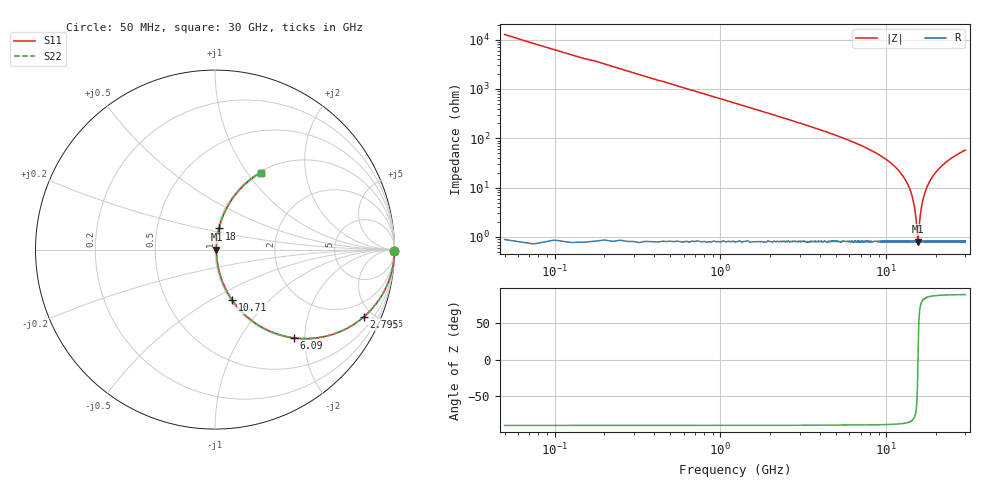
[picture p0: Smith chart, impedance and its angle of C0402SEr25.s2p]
!	AVX Thin Film Operation 	Date: April 2014
!	Description: Accu-P® Series, Thin Film  SMD RF Capacitor
!	Part Number: 04021JR25ZBSTR
# MHZ S MA R 50
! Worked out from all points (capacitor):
!   1201 points, 50 MHz to 30 GHz, reference 50 ohm
!   read as one part in series: C = 250 fF near 199.8 MHz
!   lowest |Z| = 809 mohm at 15.52 GHz (marker M1)
!   series resonance near 15.53 GHz, so ESL is about 420 pH
!   S11 on the Smith chart (normalised r, x): 50 MHz: open; 2.795 GHz: 1.02, -4.41; 6.09 GHz: 1.02, -1.77; 10.71 GHz: 1.02, -0.62; 18 GHz: 1.02, +0.24; 30 GHz: 1.02, +1.16
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50  1 -0.5  0.007854 89.5  0.007854 89.5  1 -0.5
249.667  0.999 -2.2  0.039 87.7  0.039 87.7  0.999 -2.2
349.5  0.998 -3.1  0.055 86.8  0.055 86.8  0.998 -3.1
773.792  0.993 -6.9  0.121 83.0  0.121 83.0  0.993 -6.9
1572.458  0.97 -14.0  0.242 75.9  0.242 75.9  0.97 -14.0
2795.417  0.909 -24.4  0.413 65.4  0.413 65.4  0.909 -24.4
5041.667  0.746 -41.3  0.66 48.3  0.66 48.3  0.746 -41.3
6089.917  0.66 -48.2  0.746 41.3  0.746 41.3  0.66 -48.2
10058.29  0.343 -68.7  0.932 20.0  0.932 20.0  0.343 -68.7
10707.21  0.296 -71.3  0.948 17.2  0.948 17.2  0.296 -71.3
13627.33  0.106 -79.6  0.986 6.1  0.986 6.1  0.106 -79.6
14475.92  0.058 -78.7  0.99 3.3  0.99 3.3  0.058 -78.7
15025  0.028 -71.9  0.992 1.5  0.992 1.5  0.028 -71.9
15524.17  0.008046 -2.9  0.992 0.0  0.992 0.0  0.008046 -2.9
15648.96  0.01 36.9  0.992 -0.3  0.992 -0.3  0.01 36.9
16048.29  0.028 71.7  0.992 -1.5  0.992 -1.5  0.028 71.7
16472.58  0.048 77.7  0.991 -2.7  0.991 -2.7  0.048 77.7
17146.46  0.081 79.7  0.989 -4.6  0.989 -4.6  0.081 79.7
17995.04  0.12 79.3  0.985 -6.8  0.985 -6.8  0.12 79.3
20016.67  0.204 76.0  0.971 -11.8  0.971 -11.8  0.204 76.0
25033.29  0.374 66.9  0.92 -22.0  0.92 -22.0  0.374 66.9
30000  0.498 59.3  0.86 -29.9  0.86 -29.9  0.498 59.3
